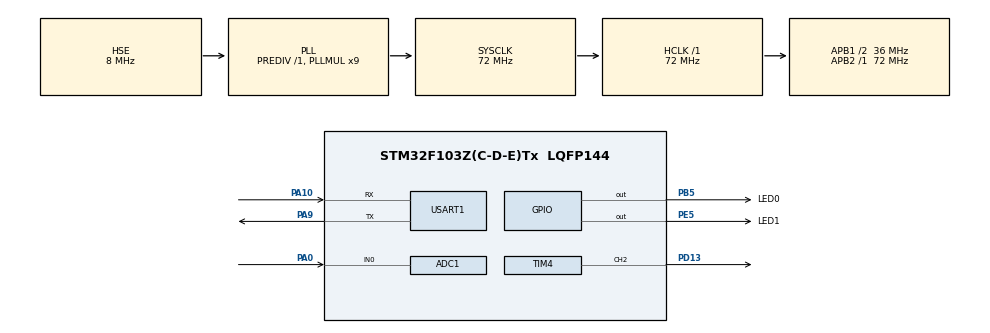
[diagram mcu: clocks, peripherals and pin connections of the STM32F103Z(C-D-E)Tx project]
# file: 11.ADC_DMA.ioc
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Mcu.Family=STM32F1
RCC.PLLSourceVirtual=RCC_PLLSOURCE_HSE
TIM4.AutoReloadPreload=TIM_AUTORELOAD_PRELOAD_ENABLE
Dma.ADC1.0.Instance=DMA1_Channel1
ADC1.Rank-0\#ChannelRegularConversion=1
PA10.Mode=Asynchronous
TIM3.AutoReloadPreload=TIM_AUTORELOAD_PRELOAD_ENABLE
SH.SharedAnalog_PA0.0=GPIO_Analog
SH.SharedAnalog_PA0.1=ADC1_IN0,IN0
RCC.APB1CLKDivider=RCC_HCLK_DIV2
RCC.SYSCLKSource=RCC_SYSCLKSOURCE_PLLCLK
ProjectManager.StackSize=0x400
PA0-WKUP.Signal=SharedAnalog_PA0
RCC.ADCPresc=RCC_ADCPCLK2_DIV6
PA13.Signal=SYS_JTMS-SWDIO
PD13.Signal=S_TIM4_CH2
Dma.ADC1.0.PeriphDataAlignment=DMA_PDATAALIGN_HALFWORD
PA9.Mode=Asynchronous
PE5.GPIO_PuPd=GPIO_PULLUP
ProjectManager.TargetToolchain=STM32CubeIDE
Dma.ADC1.0.Mode=DMA_CIRCULAR
RCC.HCLKFreq_Value=72000000
Dma.ADC1.0.Priority=DMA_PRIORITY_HIGH
RCC.APB2TimFreq_Value=72000000
TIM3.Period=1000-1
PA9.Signal=USART1_TX
Dma.ADC1.0.Direction=DMA_PERIPH_TO_MEMORY
PB5.PinState=GPIO_PIN_SET
OSC_IN.Signal=RCC_OSC_IN
PE5.Signal=GPIO_Output
RCC.USBFreq_Value=72000000
OSC_OUT.Mode=HSE-External-Oscillator
TIM4.Prescaler=72-1
OSC_OUT.Signal=RCC_OSC_OUT
Dma.ADC1.0.MemDataAlignment=DMA_MDATAALIGN_HALFWORD
RCC.AHBFreq_Value=72000000
VP_TIM3_VS_no_output4.Mode=Output Compare4 No Output
ADC1.Channel-0\#ChannelRegularConversion=ADC_CHANNEL_0
board=custom
RCC.PLLMUL=RCC_PLL_MUL9
TIM4.Channel-PWM\ Generation2\ CH2=TIM_CHANNEL_2
RCC.APB2Freq_Value=72000000
PA14.Mode=Serial_Wire
TIM3.Prescaler=7200-1
Dma.ADC1.0.PeriphInc=DMA_PINC_DISABLE
PE5.PinState=GPIO_PIN_SET
TIM3.Channel-Output\ Compare4\ No\ Output=TIM_CHANNEL_4
SH.S_TIM4_CH2.0=TIM4_CH2,PWM Generation2 CH2
TIM4.Period=1000-1
PA13.Mode=Serial_Wire
Mcu.Name=STM32F103Z(C-D-E)Tx
ADC1.SamplingTime-0\#ChannelRegularConversion=ADC_SAMPLETIME_1CYCLE_5
ADC1.ExternalTrigConv=ADC_EXTERNALTRIGCONV_T3_TRGO
RCC.SYSCLKFreq_VALUE=72000000
Mcu.Package=LQFP144
PB5.Signal=GPIO_Output
ADC1.master=1
OSC_IN.Mode=HSE-External-Oscillator
PB5.GPIO_PuPd=GPIO_PULLUP
PE5.GPIO_Label=LED1
USART1.VirtualMode=VM_ASYNC
PA10.Signal=USART1_RX
PA14.Signal=SYS_JTCK-SWCLK
Dma.ADC1.0.MemInc=DMA_MINC_ENABLE
ProjectManager.HeapSize=0x200
PB5.GPIO_Speed=GPIO_SPEED_FREQ_HIGH
NVIC.PriorityGroup=NVIC_PRIORITYGROUP_4
ADC1.NbrOfConversionFlag=1
PB5.GPIO_Label=LED0
PE5.GPIO_Speed=GPIO_SPEED_FREQ_HIGH
RCC.APB1TimFreq_Value=72000000
NVIC.DMA1_Channel1_IRQn=true\:0\:0\:false\:false\:true\:false\:true
TIM3.TIM_MasterOutputTrigger=TIM_TRGO_UPDATE
NVIC.USART1_IRQn=true\:0\:0\:false\:false\:true\:true\:true
Dma.Request0=ADC1
RCC.APB1Freq_Value=36000000
TIM4.Pulse-PWM\ Generation2\ CH2=500
VP_TIM3_VS_ClockSourceINT.Mode=Internal

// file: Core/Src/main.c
/* USER CODE BEGIN Header */
/**
 ******************************************************************************
 * @file           : main.c
 * @brief          : Main program body
 ******************************************************************************
 * @attention
 *
 * <h2><center>&copy; Copyright (c) 2021 STMicroelectronics.
 * All rights reserved.</center></h2>
 *
 * This software component is licensed by ST under BSD 3-Clause license,
 * the "License"; You may not use this file except in compliance with the
 * License. You may obtain a copy of the License at:
 *                        opensource.org/licenses/BSD-3-Clause
 *
 ******************************************************************************
 */
/* USER CODE END Header */
#include "main.h"
#include "adc.h"
#include "dma.h"
#include "tim.h"
#include "usart.h"
#include "gpio.h"

/* USER CODE BEGIN Includes */
#include "stdio.h"
#include "led.h"
/* USER CODE END Includes */

void SystemClock_Config(void);

/* USER CODE BEGIN 0 */
uint16_t adc_buffer[1] = { 0 }; //ADC采集数据缓冲区
float ad1 = 0;  //用于存放
float voltage = 0;
uint16_t pwmVal = 0;

void HAL_ADC_ConvCpltCallback(ADC_HandleTypeDef *hadc) {
	if (hadc1.Instance == ADC1) {
		voltage = ((float)adc_buffer[0]) * 3.3 / 4096;
		printf("AD1 value = %.3fV \r\n", voltage);
		if(voltage >= 1 && voltage <= 1.2)
		{
			LED0_On();
		}else if(voltage >= 2 && voltage <= 2.2) {
			LED1_On();
		}else{
			LED0_Off();
			LED1_Off();
		}
	}
}
/* USER CODE END 0 */

int main(void)
{

  /* MCU Configuration--------------------------------------------------------*/

  /* Reset of all peripherals, Initializes the Flash interface and the Systick. */
  HAL_Init();

  /* Configure the system clock */
  SystemClock_Config();

  /* Initialize all configured peripherals */
  MX_GPIO_Init();
  MX_DMA_Init();
  MX_ADC1_Init();
  MX_TIM3_Init();
  MX_USART1_UART_Init();
  MX_TIM4_Init();
  /* USER CODE BEGIN 2 */
	HAL_ADC_Start_DMA(&hadc1, (uint32_t*) &adc_buffer, 1);
	HAL_TIM_Base_Start_IT(&htim3);
	HAL_TIM_PWM_Start(&htim4, TIM_CHANNEL_2);
  /* USER CODE END 2 */

  /* Infinite loop */
	while (1) {

    /* USER CODE BEGIN 3 */
		pwmVal = 200;
		__HAL_TIM_SetCompare(&htim4, TIM_CHANNEL_2, pwmVal);
	}
  /* USER CODE END 3 */
}

void SystemClock_Config(void)
{
  RCC_OscInitTypeDef RCC_OscInitStruct = {0};
  RCC_ClkInitTypeDef RCC_ClkInitStruct = {0};
  RCC_PeriphCLKInitTypeDef PeriphClkInit = {0};

  /** Initializes the RCC Oscillators according to the specified parameters
  * in the RCC_OscInitTypeDef structure.
  */
  RCC_OscInitStruct.OscillatorType = RCC_OSCILLATORTYPE_HSE;
  RCC_OscInitStruct.HSEState = RCC_HSE_ON;
  RCC_OscInitStruct.HSEPredivValue = RCC_HSE_PREDIV_DIV1;
  RCC_OscInitStruct.HSIState = RCC_HSI_ON;
  RCC_OscInitStruct.PLL.PLLState = RCC_PLL_ON;
  RCC_OscInitStruct.PLL.PLLSource = RCC_PLLSOURCE_HSE;
  RCC_OscInitStruct.PLL.PLLMUL = RCC_PLL_MUL9;
  if (HAL_RCC_OscConfig(&RCC_OscInitStruct) != HAL_OK)
  {
    Error_Handler();
  }
  /** Initializes the CPU, AHB and APB buses clocks
  */
  RCC_ClkInitStruct.ClockType = RCC_CLOCKTYPE_HCLK|RCC_CLOCKTYPE_SYSCLK
                              |RCC_CLOCKTYPE_PCLK1|RCC_CLOCKTYPE_PCLK2;
  RCC_ClkInitStruct.SYSCLKSource = RCC_SYSCLKSOURCE_PLLCLK;
  RCC_ClkInitStruct.AHBCLKDivider = RCC_SYSCLK_DIV1;
  RCC_ClkInitStruct.APB1CLKDivider = RCC_HCLK_DIV2;
  RCC_ClkInitStruct.APB2CLKDivider = RCC_HCLK_DIV1;

  if (HAL_RCC_ClockConfig(&RCC_ClkInitStruct, FLASH_LATENCY_2) != HAL_OK)
  {
    Error_Handler();
  }
  PeriphClkInit.PeriphClockSelection = RCC_PERIPHCLK_ADC;
  PeriphClkInit.AdcClockSelection = RCC_ADCPCLK2_DIV6;
  if (HAL_RCCEx_PeriphCLKConfig(&PeriphClkInit) != HAL_OK)
  {
    Error_Handler();
  }
}

/* USER CODE BEGIN 4 */
// 须在头文件中添加 #include <stdio.h>
//////////////////////////////////////////////////////////////////
// 加入以下代码,支持printf函数,而不需要选择use MicroLIB
// MDK中同样定义了 __GNUC__，使用__ARMCC_VERSION 或  __CC_ARM 区分MDK和STM32CubeIDE
// MDK预定义宏，详见 ：https://www.keil.com/support/man/docs/armcc/armcc_chr1359125007083.htm
#ifdef __CC_ARM // 或 #ifdef __ARMCC_VERSION
  #define PUTCHAR_PROTOTYPE int fputc(int ch, FILE *f)
#else
#define PUTCHAR_PROTOTYPE int __io_putchar(int ch)
#endif
#if 1

FILE __stdout;
//定义_sys_exit()以避免使用半主机模式
void _sys_exit(int x) {
	x = x;
}
//重定义fputc函数
PUTCHAR_PROTOTYPE {
	// 具体哪个串口可以更改huart2为其它串口
	// HAL_UART_Transmit(&huart2, (uint8_t *)&ch, 1 , 0xffff);
	while ((USART1->SR & 0X40) == 0) {
	}; //循环发送,直到发送完毕
	USART1->DR = (uint8_t) ch;

//  while ((USART2->SR & 0X40) == 0) {
//  }; //循环发送,直到发送完毕
//  USART2->DR = (uint8_t) ch;

	return ch;
}
#endif

/* USER CODE END 4 */

void Error_Handler(void)
{
	__disable_irq();
	while (1) {
	}
}

/************************ (C) COPYRIGHT STMicroelectronics *****END OF FILE****/
